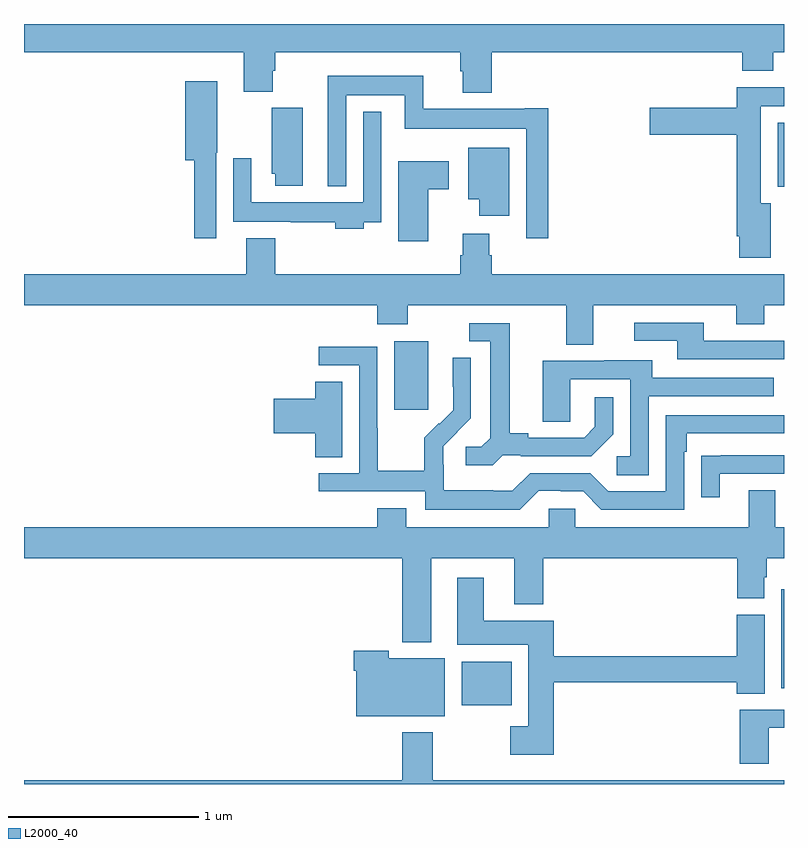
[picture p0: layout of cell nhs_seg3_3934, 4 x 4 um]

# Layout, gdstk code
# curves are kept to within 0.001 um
import gdstk
lib = gdstk.Library(unit=1e-6, precision=1e-09)
def R(c, l, rs):  # rectangles x0, y0, x1, y1
    for r in rs: c.add(gdstk.rectangle(r[:2], r[2:], *l))
def P(c, l, *ps):  # polygons
    for p in ps: c.add(gdstk.Polygon(p, *l))
L2000_40 = (2000, 40)

nhs_seg3_3934 = lib.new_cell('nhs_seg3_3934')
R(nhs_seg3_3934, L2000_40, [(317.303,694.814,317.566,695.044), (318.986,694.904,319,695.425), (316.949,696.369,317.128,696.73), (318.968,697.544,319,697.879)])
P(nhs_seg3_3934, L2000_40, [(317.462,698.252),(318.779,698.252),(318.779,698.153),(318.944,698.153),(318.944,698.252),(319,698.252),(319,698.4),(315,698.4),(315,698.252),(316.157,698.252),(316.157,698.044),(316.309,698.044),(316.309,698.153),(316.322,698.153),(316.322,698.252),(317.297,698.252),(317.297,698.151),(317.309,698.151),(317.309,698.039),(317.462,698.039)],
  [(317.759,697.957),(317.636,697.957),(317.636,697.954),(317.102,697.954),(317.102,698.128),(316.598,698.128),(316.598,697.547),(316.695,697.547),(316.695,698.024),(317.004,698.024),(317.004,697.85),(317.643,697.85),(317.643,697.272),(317.759,697.272)],
  [(316.011,697.722),(316.018,697.722),(316.018,698.098),(315.848,698.098),(315.848,697.682),(315.895,697.682),(315.895,697.272),(316.011,697.272)],
  [(318.931,697.456),(318.877,697.456),(318.877,697.968),(319,697.968),(319,698.066),(318.752,698.066),(318.752,697.959),(318.294,697.959),(318.294,697.817),(318.752,697.817),(318.752,697.282),(318.764,697.282),(318.764,697.17),(318.931,697.17)],
  [(316.468,697.959),(316.304,697.959),(316.304,697.611),(316.322,697.611),(316.322,697.548),(316.468,697.548)],
  [(316.789,697.356),(316.881,697.356),(316.881,697.939),(316.785,697.939),(316.785,697.462),(316.197,697.462),(316.197,697.693),(316.101,697.693),(316.101,697.358),(316.405,697.358),(316.405,697.356),(316.637,697.356),(316.637,697.322),(316.789,697.322)],
  [(317.554,697.75),(317.339,697.75),(317.339,697.478),(317.396,697.478),(317.396,697.392),(317.554,697.392)],
  [(317.128,697.531),(317.236,697.531),(317.236,697.678),(316.97,697.678),(316.97,697.256),(317.128,697.256)],
  [(317.995,696.92),(318.749,696.92),(318.749,696.821),(318.897,696.821),(318.897,696.92),(319,696.92),(319,697.084),(317.462,697.084),(317.462,697.182),(317.449,697.182),(317.449,697.297),(317.309,697.297),(317.309,697.182),(317.297,697.182),(317.297,697.084),(316.322,697.084),(316.322,697.273),(316.169,697.273),(316.169,697.084),(315,697.084),(315,696.92),(316.859,696.92),(316.859,696.821),(317.019,696.821),(317.019,696.92),(317.855,696.92),(317.855,696.712),(317.995,696.712)],
  [(319,696.732),(318.577,696.732),(318.577,696.828),(318.213,696.828),(318.213,696.732),(318.437,696.732),(318.437,696.636),(319,696.636)],
  [(317.52,696.129),(317.614,696.129),(317.614,696.126),(317.986,696.126),(318.102,696.242),(318.102,696.436),(318.005,696.436),(318.005,696.279),(317.948,696.222),(317.653,696.222),(317.653,696.245),(317.557,696.245),(317.557,696.825),(317.343,696.825),(317.343,696.729),(317.453,696.729),(317.453,696.221),(317.406,696.174),(317.325,696.174),(317.325,696.077),(317.468,696.077)],
  [(317.709,695.943),(317.825,695.943),(317.825,695.94),(317.943,695.94),(318.039,695.844),(318.474,695.844),(318.474,696.149),(318.487,696.149),(318.487,696.246),(319,696.246),(319,696.342),(318.378,696.342),(318.378,695.94),(318.075,695.94),(317.979,696.036),(317.664,696.036),(317.571,695.943),(317.471,695.943),(317.471,695.947),(317.208,695.947),(317.208,696.081),(317.206,696.081),(317.206,696.178),(317.352,696.326),(317.352,696.644),(317.256,696.644),(317.256,696.49),(317.258,696.49),(317.258,696.368),(317.187,696.297),(317.184,696.3),(317.107,696.223),(317.107,696.049),(316.863,696.049),(316.863,696.272),(316.86,696.272),(316.86,696.702),(316.551,696.702),(316.551,696.603),(316.764,696.603),(316.764,696.036),(316.551,696.036),(316.551,695.94),(317.112,695.94),(317.112,695.843),(317.609,695.843)],
  [(318.288,696.441),(318.947,696.441),(318.947,696.537),(318.307,696.537),(318.307,696.631),(318.053,696.631),(318.053,696.627),(317.729,696.627),(317.729,696.307),(317.874,696.307),(317.874,696.531),(318.192,696.531),(318.192,696.126),(318.12,696.126),(318.12,696.025),(318.288,696.025)],
  [(316.675,696.518),(316.532,696.518),(316.532,696.428),(316.314,696.428),(316.314,696.245),(316.532,696.245),(316.532,696.121),(316.675,696.121)],
  [(318.661,696.033),(319,696.033),(319,696.129),(318.667,696.129),(318.667,696.128),(318.565,696.128),(318.565,695.91),(318.661,695.91)],
  [(317.143,695.588),(317.579,695.588),(317.579,695.345),(317.732,695.345),(317.732,695.588),(318.755,695.588),(318.755,695.377),(318.895,695.377),(318.895,695.487),(318.908,695.487),(318.908,695.588),(319,695.588),(319,695.752),(318.955,695.752),(318.955,695.947),(318.815,695.947),(318.815,695.752),(317.901,695.752),(317.901,695.85),(317.763,695.85),(317.763,695.752),(317.011,695.752),(317.011,695.851),(316.859,695.851),(316.859,695.752),(315,695.752),(315,695.588),(316.991,695.588),(316.991,695.147),(317.143,695.147)],
  [(317.789,694.936),(318.752,694.936),(318.752,694.876),(318.898,694.876),(318.898,695.292),(318.752,695.292),(318.752,695.072),(317.789,695.072),(317.789,695.26),(317.419,695.26),(317.419,695.485),(317.279,695.485),(317.279,695.132),(317.654,695.132),(317.654,694.705),(317.559,694.705),(317.559,694.553),(317.789,694.553)],
  [(317.215,695.062),(316.919,695.062),(316.919,695.101),(316.736,695.101),(316.736,694.997),(316.748,694.997),(316.748,694.757),(317.215,694.757)],
  [(318.919,694.695),(319,694.695),(319,694.791),(318.767,694.791),(318.767,694.506),(318.919,694.506)],
  [(319,694.42),(317.151,694.42),(317.151,694.672),(316.991,694.672),(316.991,694.42),(315,694.42),(315,694.4),(319,694.4)])

lib.write_gds('nhs_seg3_3934.gds')
